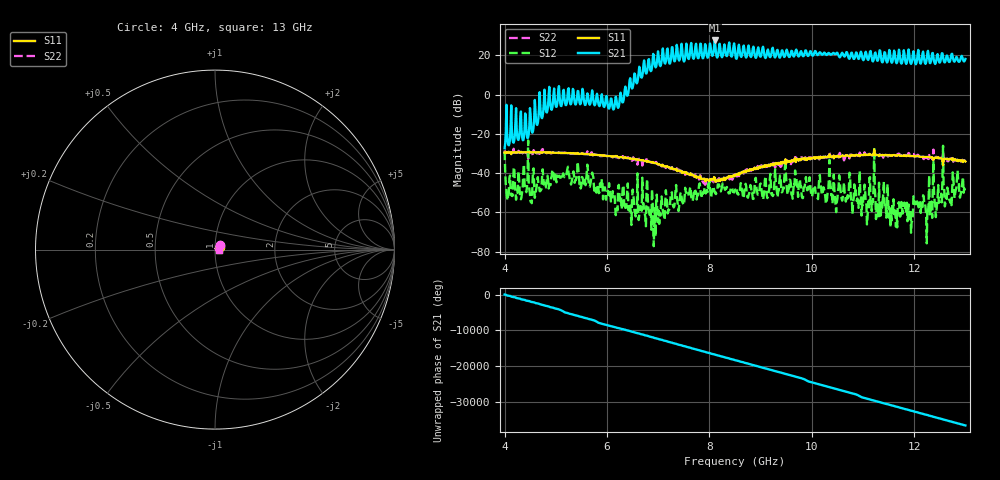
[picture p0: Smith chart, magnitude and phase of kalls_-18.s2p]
! Micran, Research & Production Company
! Date: 2025-04-17 14:09:12
! Frequency	S11	S21	S12	S22
# Hz S dB R 50
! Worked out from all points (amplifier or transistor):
!   764 points, 4 GHz to 13 GHz, reference 50 ohm
!   highest |S21| = 27.5 dB at 8.105 GHz (marker M1)
!   |S21| within 3 dB of that: 8.091532 GHz to 8.117546 GHz (26.01 MHz wide, 0.321 % of centre)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
!   unconditionally stable (mu >= 1): start of sweep to end of sweep
!   at 5.498 GHz: K = 155.02, MAG = -3.2 dB, |S12| = -46.6 dB
!   at 8.506 GHz: K = 12.28, MAG = 20.6 dB, |S12| = -48.4 dB
!   at 13 GHz: K = 17.90, MAG = 18.1 dB, |S12| = -49.2 dB
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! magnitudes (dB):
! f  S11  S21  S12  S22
! 4 GHz  -29.6  -27.4  -29.0  -28.5
! 4.059 GHz  -29.5  -23.7  -50.8  -29.4
! 4.448 GHz  -29.5  -22.3  -42.1  -30.0
! 4.873 GHz  -29.5  3.9  -45.6  -29.7
! 5.51 GHz  -30.1  -0.4  -42.0  -30.2
! 6.218 GHz  -31.8  -6.8  -47.6  -32.0
! 7.008 GHz  -35.5  19.7  -59.1  -35.9
! 8.105 GHz  -42.3  27.5  -49.7  -44.5
! 8.506 GHz  -40.9  20.6  -48.4  -40.5
! 9.473 GHz  -34.7  19.4  -37.8  -35.3
! 10 GHz  -32.4  20.2  -52.1  -32.5
! 10.35 GHz  -30.5  20.9  -33.3  -29.5
! 11.08 GHz  -30.8  19.0  -66.2  -30.8
! 11.21 GHz  -30.6  17.6  -46.9  -30.8
! 11.5 GHz  -31.0  20.4  -62.7  -31.0
! 11.94 GHz  -31.3  15.6  -70.4  -31.1
! 12.02 GHz  -31.5  16.0  -54.9  -31.4
! 12.25 GHz  -31.9  18.2  -75.8  -32.3
! 12.55 GHz  -33.2  21.0  -42.3  -33.3
! 12.69 GHz  -33.0  16.6  -53.9  -32.9
! 12.83 GHz  -33.3  19.0  -43.4  -33.6
! 13 GHz  -34.1  18.1  -49.2  -34.0
